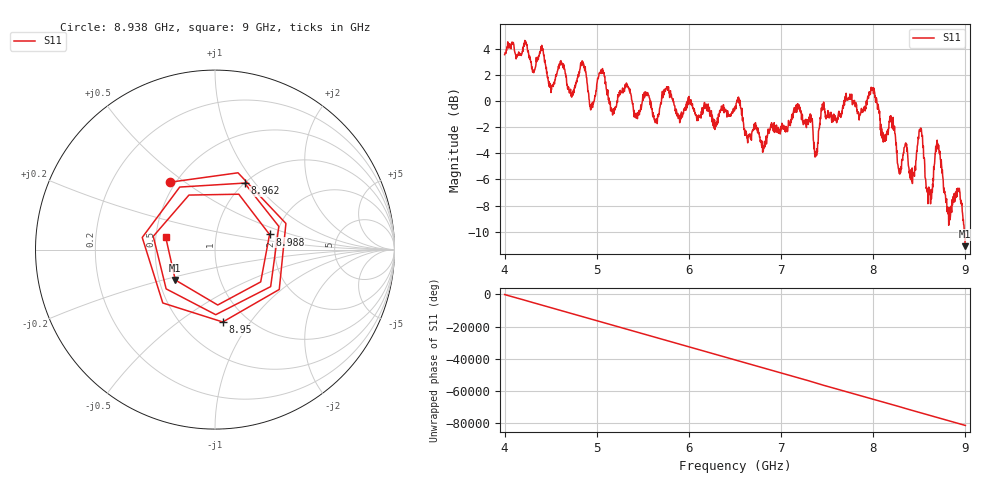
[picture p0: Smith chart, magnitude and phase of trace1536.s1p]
! Created with skrf 1.8.0 (http://scikit-rf.org).
# Hz S RI R 50.0
!freq ReS11 ImS11
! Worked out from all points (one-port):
!   1601 points, 4 GHz to 9 GHz, reference 50 ohm
!   lowest |S11| = -11.1 dB at 8.997 GHz (marker M1), VSWR 1.77, Z = 30.3 - j11.1 ohm
!   |S11| at or under -10 dB: 8.987825 GHz to end of sweep
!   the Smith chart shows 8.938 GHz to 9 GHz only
!   S11 on the Smith chart (normalised r, x): 8.938 GHz: 0.47, +0.44; 8.95 GHz: 0.77, -0.75; 8.962 GHz: 1.00, +0.89; 8.988 GHz: 1.83, +0.34; 9 GHz: 0.56, +0.09
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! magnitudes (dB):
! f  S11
! 4 GHz  3.5
! 4.625 GHz  2.7
! 4.728 GHz  0.3
! 4.85 GHz  2.9
! 4.941 GHz  -0.5
! 5.05 GHz  2.3
! 5.25 GHz  0.7
! 5.875 GHz  -1.1
! 6.5 GHz  -0.4
! 6.806 GHz  -3.9
! 7.125 GHz  -1.0
! 7.378 GHz  -4.2
! 7.45 GHz  -0.3
! 7.75 GHz  0.3
! 7.997 GHz  0.9
! 8.284 GHz  -5.5
! 8.375 GHz  -4.2
! 8.438 GHz  -5.6
! 8.509 GHz  -2.3
! 8.597 GHz  -7.0
! 8.697 GHz  -3.4
! 8.812 GHz  -8.6
! 8.938 GHz  -6.9
! 8.95 GHz  -7.8
! 8.962 GHz  -7.8
! 8.988 GHz  -10.0
! 8.997 GHz  -11.1
! 9 GHz  -10.9
